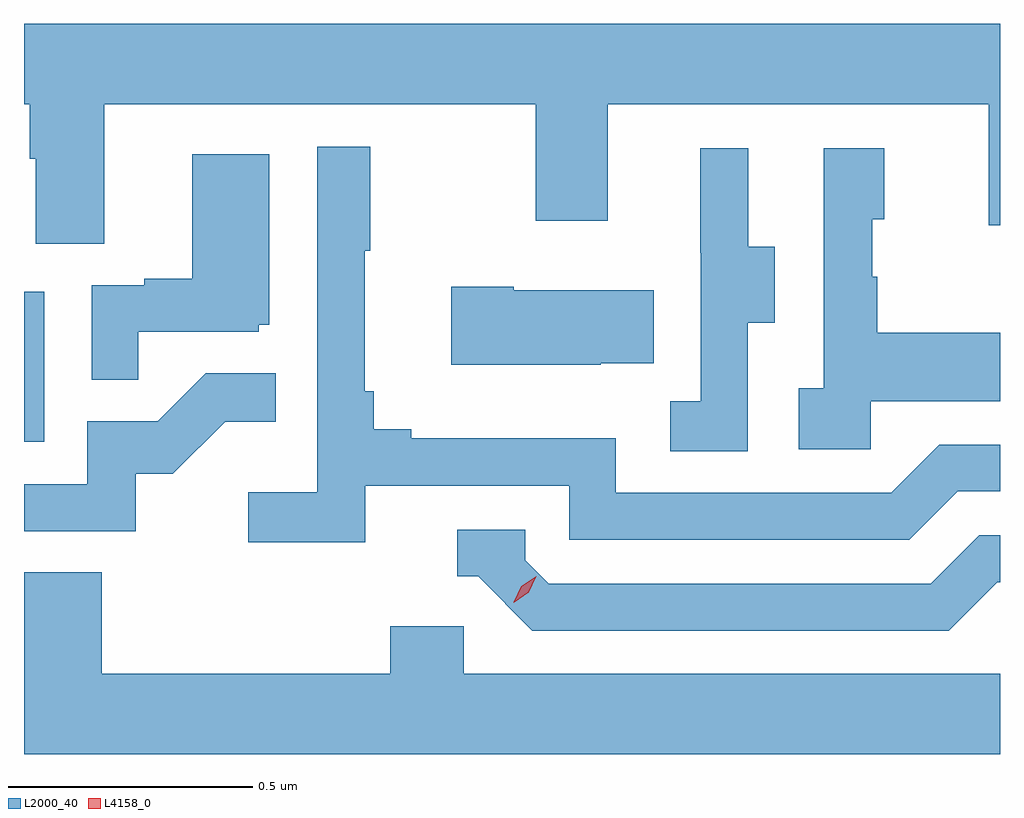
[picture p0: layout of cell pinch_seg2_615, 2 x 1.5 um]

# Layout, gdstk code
import gdstk
lib = gdstk.Library(unit=1e-6, precision=1e-09)
def R(c, l, rs):  # rectangles x0, y0, x1, y1
    for r in rs: c.add(gdstk.rectangle(r[:2], r[2:], *l))
def P(c, l, *ps):  # polygons
    for p in ps: c.add(gdstk.Polygon(p, *l))
L2000_40 = (2000, 40)
L4158_0 = (4158, 0)

pinch_seg2_615 = lib.new_cell('pinch_seg2_615')
R(pinch_seg2_615, L2000_40, [(1046.117,621.636,1046.158,621.943)])
P(pinch_seg2_615, L2000_40, [(1046.281,622.328),(1047.166,622.328),(1047.166,622.089),(1047.313,622.089),(1047.313,622.328),(1048.094,622.328),(1048.094,622.08),(1048.117,622.08),(1048.117,622.492),(1046.117,622.492),(1046.117,622.328),(1046.129,622.328),(1046.129,622.216),(1046.141,622.216),(1046.141,622.042),(1046.281,622.042)],
  [(1046.816,621.546),(1047.234,621.546),(1047.234,621.435),(1047.931,621.435),(1048.03,621.534),(1048.117,621.534),(1048.117,621.63),(1047.993,621.63),(1047.894,621.531),(1047.33,621.531),(1047.33,621.643),(1046.911,621.643),(1046.911,621.662),(1046.834,621.662),(1046.834,621.739),(1046.815,621.739),(1046.815,622.027),(1046.827,622.027),(1046.827,622.24),(1046.718,622.24),(1046.718,621.532),(1046.577,621.532),(1046.577,621.43),(1046.816,621.43)],
  [(1047.6,621.88),(1047.655,621.88),(1047.655,622.035),(1047.601,622.035),(1047.601,622.237),(1047.503,622.237),(1047.503,622.023),(1047.504,622.023),(1047.504,621.719),(1047.441,621.719),(1047.441,621.616),(1047.6,621.616)],
  [(1047.852,621.719),(1048.117,621.719),(1048.117,621.859),(1047.865,621.859),(1047.865,621.974),(1047.855,621.974),(1047.855,622.092),(1047.88,622.092),(1047.88,622.237),(1047.756,622.237),(1047.756,621.746),(1047.705,621.746),(1047.705,621.621),(1047.852,621.621)],
  [(1046.351,621.861),(1046.598,621.861),(1046.598,621.876),(1046.62,621.876),(1046.62,622.225),(1046.462,622.225),(1046.462,621.97),(1046.363,621.97),(1046.363,621.957),(1046.256,621.957),(1046.256,621.763),(1046.351,621.763)],
  [(1047.299,621.797),(1047.407,621.797),(1047.407,621.946),(1047.121,621.946),(1047.121,621.954),(1046.993,621.954),(1046.993,621.794),(1047.299,621.794)],
  [(1046.346,621.57),(1046.422,621.57),(1046.529,621.677),(1046.633,621.677),(1046.633,621.776),(1046.489,621.776),(1046.391,621.678),(1046.247,621.678),(1046.247,621.549),(1046.117,621.549),(1046.117,621.453),(1046.346,621.453)],
  [(1048.111,621.348),(1048.117,621.348),(1048.117,621.444),(1048.074,621.444),(1047.975,621.345),(1047.192,621.345),(1047.144,621.393),(1047.144,621.456),(1047.005,621.456),(1047.005,621.36),(1047.048,621.36),(1047.159,621.249),(1048.012,621.249)],
  [(1048.117,621.16),(1047.018,621.16),(1047.018,621.258),(1046.867,621.258),(1046.867,621.16),(1046.276,621.16),(1046.276,621.368),(1046.117,621.368),(1046.117,620.996),(1048.117,620.996)])
P(pinch_seg2_615, L4158_0, [(1047.121,621.306),(1047.121,621.307),(1047.136,621.34),(1047.167,621.36),(1047.167,621.36),(1047.167,621.36),(1047.151,621.327),(1047.121,621.306)])

lib.write_gds('pinch_seg2_615.gds')
